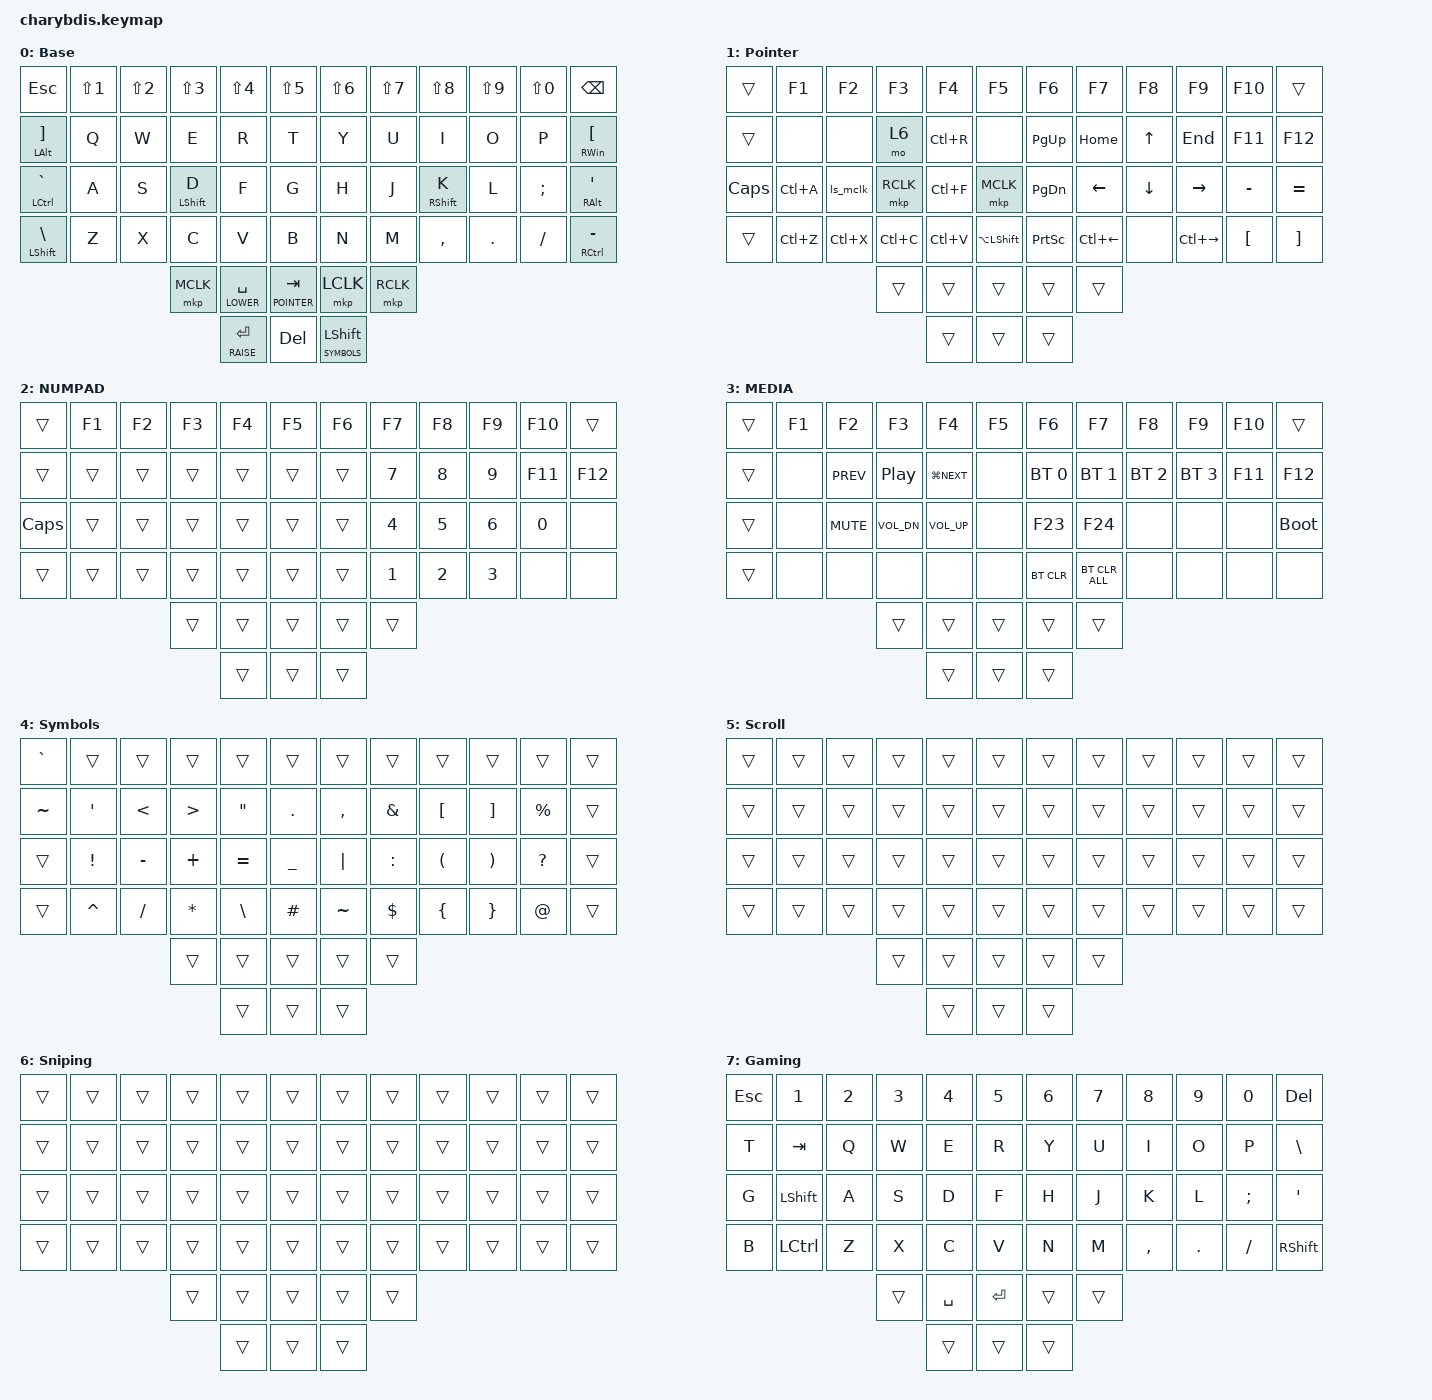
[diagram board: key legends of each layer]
#include <dt-bindings/zmk/mouse.h>
#include <behaviors/mouse_keys.dtsi>
#include <behaviors.dtsi>
#include <dt-bindings/zmk/bt.h>
#include <dt-bindings/zmk/keys.h>
#include <dt-bindings/zmk/pointing.h>

/ {
    chosen { zmk,physical-layout = &charybdis_6col_layout; };
};

&mt {
    quick-tap-ms = <200>;
    flavor = "tap-preferred";
    tapping-term-ms = <170>;
};

&lt {
    quick-tap-ms = <200>;
    flavor = "tap-preferred";
    tapping-term-ms = <170>;
};

&caps_word { /delete-property/ ignore-modifiers; };

// Layer definitions

#define BASE 0
#define POINTER 1
#define LOWER 2
#define RAISE 3
#define SYMBOLS 4
#define SCROLL 5
#define SNIPING 6
#define GAMING 7

/ {
    behaviors {
        // Hold-tap behavior for layer with tap-preferred

        blt: blt {
            compatible = "zmk,behavior-hold-tap";
            #binding-cells = <2>;
            flavor = "tap-preferred";
            tapping-term-ms = <200>;
            quick-tap-ms = <300>;
            require-prior-idle-ms = <100>;
            bindings = <&mo>, <&kp>;
        };

        // Tap-dance for GUI/Ctrl+B

        gui_ctrlb: gui_ctrlb {
            compatible = "zmk,behavior-tap-dance";
            #binding-cells = <0>;
            tapping-term-ms = <200>;
            bindings = <&kp LGUI>, <&kp LC(B)>;
        };

        // Home row mods - Left hand

        hml: home_row_mod_left {
            compatible = "zmk,behavior-hold-tap";
            #binding-cells = <2>;
            flavor = "balanced";
            require-prior-idle-ms = <150>;
            tapping-term-ms = <180>;
            quick-tap-ms = <175>;
            bindings = <&kp>, <&kp>;

            hold-trigger-key-positions = <6 7 8 9 10 11 18 19 20 21 22 23 30 31 32 33 34 35 42 43 44 45 46 47 53 54 55>; // Right side keys
            hold-trigger-on-release;
        };

        // Home row mods - Right hand

        hmr: home_row_mod_right {
            compatible = "zmk,behavior-hold-tap";
            #binding-cells = <2>;
            flavor = "balanced";
            require-prior-idle-ms = <150>;
            tapping-term-ms = <180>;
            quick-tap-ms = <175>;
            bindings = <&kp>, <&kp>;

            hold-trigger-key-positions = <0 1 2 3 4 5 12 13 14 15 16 17 24 25 26 27 28 29 36 37 38 39 40 41 48 49 50 51 52>; // Left side keys
            hold-trigger-on-release;
        };
    };

    macros {
        // Ctrl+Alt+Cmd macro

        CAC: CAC {
            compatible = "zmk,behavior-macro-one-param";
            #binding-cells = <1>;
            bindings =
                <&macro_press>,
                <&kp LCTRL &kp LALT &kp LGUI &macro_param_1to1>,
                <&macro_tap>,
                <&kp MACRO_PLACEHOLDER>,
                <&macro_release>,
                <&kp LCTRL &kp LALT &kp LGUI>;
        };

        // Ctrl+Shift+Alt macro

        CSA: CSA {
            compatible = "zmk,behavior-macro-one-param";
            #binding-cells = <1>;
            bindings =
                <&macro_press>,
                <&kp LCTRL &kp LSHIFT &kp LALT &macro_param_1to1>,
                <&macro_tap>,
                <&kp MACRO_PLACEHOLDER>,
                <&macro_release>,
                <&kp LCTRL &kp LSHIFT &kp LALT>;
        };

        // Ctrl+Alt macro

        CA: CA {
            compatible = "zmk,behavior-macro-one-param";
            #binding-cells = <1>;
            bindings =
                <&macro_press>,
                <&kp LCTRL &kp LALT &macro_param_1to1>,
                <&macro_tap>,
                <&kp MACRO_PLACEHOLDER>,
                <&macro_release>,
                <&kp LCTRL &kp LALT>;
        };

        // Shift+Middle Click macro

        ls_mclk: ls_mclk {
            compatible = "zmk,behavior-macro";
            wait-ms = <0>;
            tap-ms = <10>;
            #binding-cells = <0>;
            bindings =
                <&macro_press>,
                <&kp LSHIFT>,
                <&macro_tap>,
                <&mkp MCLK>,
                <&macro_release>,
                <&kp LSHIFT>;
        };
    };

    combos {
        compatible = "zmk,combos";
        timeout-ms = <20>;
        require-prior-idle-ms = <250>;

        // Studio Unlock Combo - all three right thumb keys

        combo_studio_unlock {
            timeout-ms = <50>;
            key-positions = <53 54 55>;
            bindings = <&studio_unlock>;
        };

        // Gaming layer toggle combo - keys 49, 55, 54

        combo_gaming_toggle {
            timeout-ms = <50>;
            key-positions = <53 55 51>;
            bindings = <&tog GAMING>;
        };

        combo_caps_word {
            bindings = <&caps_word>;
            key-positions = <27 28 31 32>;
        };
    };

    keymap {
        compatible = "zmk,keymap";

        // ╭─────────────┬─────────────┬─────────────┬─────────────┬─────────────┬─────────────╮   ╭─────────────┬─────────────┬─────────────┬─────────────┬─────────────┬─────────────╮
        //    0             1             2             3             4             5                 6             7             8             9            10            11
        // ├─────────────┼─────────────┼─────────────┼─────────────┼─────────────┼─────────────┤   ├─────────────┼─────────────┼─────────────┼─────────────┼─────────────┼─────────────┤
        //   12            13            14            15            16            17                18            19            20            21            22            23
        // ├─────────────┼─────────────┼─────────────┼─────────────┼─────────────┼─────────────┤   ├─────────────┼─────────────┼─────────────┼─────────────┼─────────────┼─────────────┤
        //   24            25            26            27            28            29                30            31            32            33            34            35
        // ├─────────────┼─────────────┼─────────────┼─────────────┼─────────────┼─────────────┤   ├─────────────┼─────────────┼─────────────┼─────────────┼─────────────┼─────────────┤
        //   36            37            38            39            40            41                42            43            44            45            46            47
        // ╰─────────────┴─────────────┴─────────────┴─────────────┴─────────────┴─────────────╯   ╰─────────────┴─────────────┴─────────────┴─────────────┴─────────────┴─────────────╯
        //               ╭─────────────┬─────────────┬─────────────┬─────────────┬─────────────╮   ╭─────────────┬─────────────┬─────────────╮
        //                  48            49            50            51            52                53            54            55
        //               ╰─────────────┴─────────────┴─────────────┴─────────────┴─────────────╯   ╰─────────────┴─────────────┴─────────────╯
        //                                                                         Actual Key Positions
        //                                          ╭─────────────┬─────────────┬─────────────╮    ╭─────────────┬─────────────╮
        //                                             50           51            48                 55            54
        //                                          ╰─────────────┼─────────────┼─────────────┤    ├─────────────┼─────────────╯
        //                                                          52            49                 53
        //                                                        ╰─────────────┴─────────────╯    ╰─────────────╯

        base_layer {
            label = "BASE";
            display-name = "Base";
            bindings = <
&kp ESC                      &kp LS(N1)  &kp LS(N2)  &kp LS(N3)     &kp LS(N4)        &kp LS(N5)          &kp LS(N6)               &kp LS(N7)  &kp LS(N8)     &kp LS(N9)  &kp LS(N0)  &kp BACKSPACE
&hml LEFT_ALT RIGHT_BRACKET  &kp Q       &kp W       &kp E          &kp R             &kp T               &kp Y                    &kp U       &kp I          &kp O       &kp P       &hmr RIGHT_WIN LEFT_BRACKET
&hml LCTRL GRAVE             &kp A       &kp S       &hml LSHIFT D  &kp F             &kp G               &kp H                    &kp J       &hmr RSHIFT K  &kp L       &kp SEMI    &hmr RIGHT_ALT SINGLE_QUOTE
&hml LEFT_SHIFT BACKSLASH    &kp Z       &kp X       &kp C          &kp V             &kp B               &kp N                    &kp M       &kp COMMA      &kp DOT     &kp FSLH    &hmr RCTRL MINUS
                                                     &mkp MCLK      &blt LOWER SPACE  &blt POINTER TAB    &mkp LCLK                &mkp RCLK
                                                                    &blt RAISE ENTER  &kp DELETE          &blt SYMBOLS LEFT_SHIFT
            >;
        };

        pointer_layer {
            label = "POINTER";
            display-name = "Pointer";
            bindings = <
&trans        &kp F1     &kp F2     &kp F3     &kp F4     &kp F5                &kp F6         &kp F7              &kp F8          &kp F9               &kp F10    &trans
&trans        &none      &none      &mo 6      &kp LC(R)  &none                 &kp PAGE_UP    &kp HOME            &kp UP          &kp END              &kp F11    &kp F12
&kp CAPSLOCK  &kp LC(A)  &ls_mclk   &mkp RCLK  &kp LC(F)  &mkp MCLK             &kp PAGE_DOWN  &kp LEFT_ARROW      &kp DOWN_ARROW  &kp RIGHT            &kp MINUS  &kp EQUAL
&trans        &kp LC(Z)  &kp LC(X)  &kp LC(C)  &kp LC(V)  &kp LA(LEFT_SHIFT)    &kp PSCRN      &kp LC(LEFT_ARROW)  &none           &kp LC(RIGHT_ARROW)  &kp LBKT   &kp RBKT
                                    &trans     &trans     &trans                &trans         &trans
                                               &trans     &trans                &trans
            >;
        };

        numpad_layer {
            label = "LOWER";
            display-name = "NUMPAD";
            bindings = <
&trans    &kp F1  &kp F2  &kp F3  &kp F4  &kp F5    &kp F6  &kp F7        &kp F8        &kp F9        &kp F10       &trans
&trans    &trans  &trans  &trans  &trans  &trans    &trans  &kp NUMBER_7  &kp NUMBER_8  &kp N9        &kp F11       &kp F12
&kp CAPS  &trans  &trans  &trans  &trans  &trans    &trans  &kp NUMBER_4  &kp NUMBER_5  &kp NUMBER_6  &kp NUMBER_0  &none
&trans    &trans  &trans  &trans  &trans  &trans    &trans  &kp NUMBER_1  &kp NUMBER_2  &kp NUMBER_3  &none         &none
                          &trans  &trans  &trans    &trans  &trans
                                  &trans  &trans    &trans
            >;
        };

        media_layer {
            label = "RAISE";
            display-name = "MEDIA";
            bindings = <
&trans  &kp F1  &kp F2      &kp F3            &kp F4           &kp F5    &kp F6        &kp F7          &kp F8        &kp F9        &kp F10  &trans
&trans  &none   &kp C_PREV  &kp C_PLAY_PAUSE  &kp LG(C_NEXT)   &none     &bt BT_SEL 0  &bt BT_SEL 1    &bt BT_SEL 2  &bt BT_SEL 3  &kp F11  &kp F12
&trans  &none   &kp C_MUTE  &kp C_VOL_DN      &kp C_VOLUME_UP  &none     &kp F23       &kp F24         &none         &none         &none    &bootloader
&trans  &none   &none       &none             &none            &none     &bt BT_CLR    &bt BT_CLR_ALL  &none         &none         &none    &none
                            &trans            &trans           &trans    &trans        &trans
                                              &trans           &trans    &trans
            >;
        };

        symbols_layer {
            label = "SYMBOLS";
            display-name = "Symbols";
            bindings = <
&kp GRAVE  &trans     &trans     &trans     &trans     &trans       &trans     &trans     &trans    &trans    &trans     &trans
&kp TILDE  &kp SQT    &kp LT     &kp GT     &kp DQT    &kp DOT      &kp COMMA  &kp AMPS   &kp LBKT  &kp RBKT  &kp PRCNT  &trans
&trans     &kp EXCL   &kp MINUS  &kp PLUS   &kp EQUAL  &kp UNDER    &kp PIPE   &kp COLON  &kp LPAR  &kp RPAR  &kp QMARK  &trans
&trans     &kp CARET  &kp FSLH   &kp ASTRK  &kp BSLH   &kp HASH     &kp TILDE  &kp DLLR   &kp LBRC  &kp RBRC  &kp AT     &trans
                                 &trans     &trans     &trans       &trans     &trans
                                            &trans     &trans       &trans
            >;
        };

        scroll_layer {
            label = "SCROLL";
            display-name = "Scroll";
            bindings = <
&trans  &trans  &trans  &trans  &trans  &trans    &trans  &trans  &trans  &trans  &trans  &trans
&trans  &trans  &trans  &trans  &trans  &trans    &trans  &trans  &trans  &trans  &trans  &trans
&trans  &trans  &trans  &trans  &trans  &trans    &trans  &trans  &trans  &trans  &trans  &trans
&trans  &trans  &trans  &trans  &trans  &trans    &trans  &trans  &trans  &trans  &trans  &trans
                        &trans  &trans  &trans    &trans  &trans
                                &trans  &trans    &trans
            >;
        };

        sniping_layer {
            label = "SNIPING";
            display-name = "Sniping";
            bindings = <
&trans  &trans  &trans  &trans  &trans  &trans    &trans  &trans  &trans  &trans  &trans  &trans
&trans  &trans  &trans  &trans  &trans  &trans    &trans  &trans  &trans  &trans  &trans  &trans
&trans  &trans  &trans  &trans  &trans  &trans    &trans  &trans  &trans  &trans  &trans  &trans
&trans  &trans  &trans  &trans  &trans  &trans    &trans  &trans  &trans  &trans  &trans  &trans
                        &trans  &trans  &trans    &trans  &trans
                                &trans  &trans    &trans
            >;
        };

        gaming_layer {
            label = "GAMING";
            display-name = "Gaming";
            bindings = <
&kp ESC  &kp N1          &kp N2  &kp N3  &kp N4     &kp N5       &kp N6  &kp N7  &kp N8     &kp N9   &kp N0    &kp DEL
&kp T    &kp TAB         &kp Q   &kp W   &kp E      &kp R        &kp Y   &kp U   &kp I      &kp O    &kp P     &kp BSLH
&kp G    &kp LEFT_SHIFT  &kp A   &kp S   &kp D      &kp F        &kp H   &kp J   &kp K      &kp L    &kp SEMI  &kp SQT
&kp B    &kp LCTRL       &kp Z   &kp X   &kp C      &kp V        &kp N   &kp M   &kp COMMA  &kp DOT  &kp FSLH  &kp RIGHT_SHIFT
                                 &trans  &kp SPACE  &kp ENTER    &trans  &trans
                                         &trans     &trans       &trans
            >;
        };
    };
};
